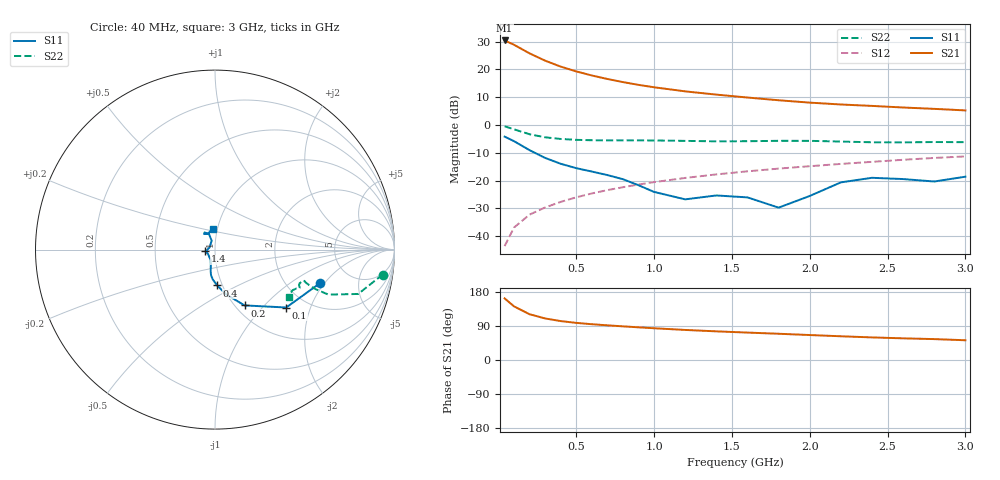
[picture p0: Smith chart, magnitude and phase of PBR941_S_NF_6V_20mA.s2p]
! Filename:  PBR941P.S2P  Version:  3.0
! Philips part #:  PBR941  Date: July 1998
! Bias condition:  Vce=6V, Ic=20mA
#  MHz  S  MA  R 50
! Freq  S11  S21  S12  S22
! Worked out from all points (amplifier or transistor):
!   21 points, 40 MHz to 3 GHz, reference 50 ohm
!   highest |S21| = 30.4 dB at 40 MHz (marker M1)
!   |S21| within 3 dB of that: start of sweep to 147.2 MHz
!   unconditionally stable (mu >= 1): 782.3 MHz to 2.239 GHz
!   at 300 MHz: K = 0.84, MSG = 26.4 dB, |S12| = -29.7 dB
!   at 1 GHz: K = 1.02, MAG = 16.2 dB, |S12| = -20.6 dB
!   at 3 GHz: K = 0.98, MSG = 8.3 dB, |S12| = -11.3 dB
!   lowest NFmin = 2.27 dB at 500 MHz
!   S11 on the Smith chart (normalised r, x): 40 MHz: 3.03, -1.81; 100 MHz: 1.58, -1.38; 200 MHz: 1.10, -0.78; 400 MHz: 0.94, -0.39; 1.4 GHz: 0.90, -0.02; 3 GHz: 0.95, +0.22
40  0.616 -17.5  33.04 162.5  0.006603 81.1  0.9451 -8.4
100  0.5113 -39.1  27.68 141.7  0.01426 76.2  0.8349 -17.2
200  0.3519 -62.1  19.38 120.8  0.02437 72.7  0.6797 -21.6
300  0.2554 -76.4  14.32 109.6  0.03277 74.1  0.5995 -21.4
400  0.2003 -86.5  11.19 102.7  0.04124 75.7  0.559 -20.6
500  0.1669 -94.2  9.175 97.9  0.04988 77.0  0.5393 -20.0
600  0.1451 -98.7  7.752 94.4  0.05859 77.7  0.5305 -19.6
700  0.1255 -101.0  6.702 91.5  0.06721 78.5  0.5276 -19.4
800  0.1057 -103.0  5.892 88.8  0.07584 79.1  0.528 -19.3
900  0.08236 -106.4  5.255 86.2  0.0847 79.0  0.527 -19.3
1000  0.06245 -113.1  4.755 83.8  0.09367 79.4  0.5255 -19.4
1200  0.04588 -149.0  4.014 79.3  0.1113 79.1  0.5164 -20.1
1400  0.05393 -170.6  3.509 75.6  0.1289 78.6  0.507 -21.7
1600  0.04976 -172.0  3.11 72.4  0.1464 78.4  0.5092 -23.2
1800  0.03256 156.7  2.776 69.3  0.1639 78.1  0.518 -24.2
2000  0.0528 110.5  2.519 65.9  0.181 77.2  0.5173 -24.8
2200  0.09269 111.1  2.331 62.6  0.199 76.3  0.5021 -25.6
2400  0.112 121.3  2.198 59.6  0.2169 75.5  0.4878 -27.7
2600  0.1063 125.3  2.058 57.2  0.2361 75.1  0.4857 -30.4
2800  0.09608 115.2  1.944 55.1  0.2549 74.4  0.4926 -32.3
3000  0.1172 96.5  1.825 52.1  0.2715 73.2  0.4896 -32.8
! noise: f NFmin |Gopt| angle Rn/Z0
500  2.273  0.074  29.79  0.237
900  2.274  0.03  -135.1  0.187
1000  2.332  0.017  26.68  0.255
2000  2.913  0.178  -121.3  0.337
